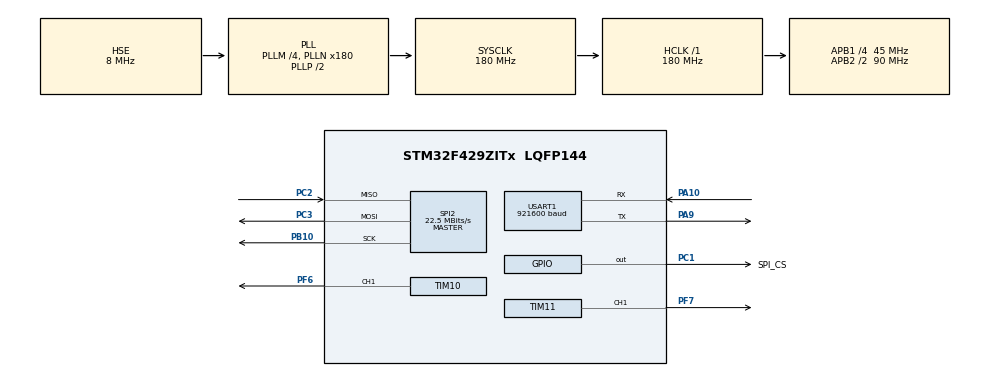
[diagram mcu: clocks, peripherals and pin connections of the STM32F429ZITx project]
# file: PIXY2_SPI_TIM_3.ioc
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Mcu.Family=STM32F4
Mcu.Name=STM32F429ZITx
Mcu.Package=LQFP144
NVIC.PriorityGroup=NVIC_PRIORITYGROUP_4
PA10.Mode=Asynchronous
PA10.Signal=USART1_RX
PA9.Mode=Asynchronous
PA9.Signal=USART1_TX
PB10.Mode=Full_Duplex_Master
PB10.Signal=SPI2_SCK
PC1.GPIO_Label=SPI_CS
PC1.GPIO_PuPd=GPIO_PULLUP
PC1.GPIO_Speed=GPIO_SPEED_FREQ_HIGH
PC1.PinState=GPIO_PIN_SET
PC1.Signal=GPIO_Output
PC2.Mode=Full_Duplex_Master
PC2.Signal=SPI2_MISO
PC3.Mode=Full_Duplex_Master
PC3.Signal=SPI2_MOSI
PF6.Signal=S_TIM10_CH1
PF7.Signal=S_TIM11_CH1
PH0/OSC_IN.Mode=HSE-External-Oscillator
PH0/OSC_IN.Signal=RCC_OSC_IN
PH1/OSC_OUT.Mode=HSE-External-Oscillator
PH1/OSC_OUT.Signal=RCC_OSC_OUT
ProjectManager.HeapSize=0x200
ProjectManager.StackSize=0x400
ProjectManager.TargetToolchain=STM32CubeIDE
RCC.48MHZClocksFreq_Value=90000000
RCC.AHBFreq_Value=180000000
RCC.APB1CLKDivider=RCC_HCLK_DIV4
RCC.APB1Freq_Value=45000000
RCC.APB1TimFreq_Value=90000000
RCC.APB2CLKDivider=RCC_HCLK_DIV2
RCC.APB2Freq_Value=90000000
RCC.APB2TimFreq_Value=180000000
RCC.CortexFreq_Value=180000000
RCC.HCLKFreq_Value=180000000
RCC.HSE_VALUE=8000000
RCC.HSI_VALUE=16000000
RCC.LSE_VALUE=32768
RCC.PLLM=4
RCC.PLLN=180
RCC.PLLSourceVirtual=RCC_PLLSOURCE_HSE
RCC.SYSCLKFreq_VALUE=180000000
RCC.SYSCLKSource=RCC_SYSCLKSOURCE_PLLCLK
RCC.VCOOutputFreq_Value=360000000
SH.S_TIM10_CH1.0=TIM10_CH1,PWM Generation1 CH1
SH.S_TIM11_CH1.0=TIM11_CH1,PWM Generation1 CH1
SPI2.CLKPhase=SPI_PHASE_2EDGE
SPI2.CalculateBaudRate=22.5 MBits/s
SPI2.Direction=SPI_DIRECTION_2LINES
SPI2.Mode=SPI_MODE_MASTER
SPI2.VirtualType=VM_MASTER
TIM10.Channel=TIM_CHANNEL_1
TIM10.Period=19999
TIM10.Prescaler=179
TIM10.Pulse=1500
TIM11.Channel=TIM_CHANNEL_1
TIM11.Period=19999
TIM11.Prescaler=179
TIM11.Pulse=1500
USART1.BaudRate=921600
USART1.VirtualMode=VM_ASYNC
VP_TIM10_VS_ClockSourceINT.Mode=Enable_Timer
VP_TIM11_VS_ClockSourceINT.Mode=Enable_Timer
board=custom

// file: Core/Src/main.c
/* USER CODE BEGIN Header */
/**
 ******************************************************************************
 * @file           : main.c
 * @brief          : Main program body
 ******************************************************************************
 * @attention
 *
 * Copyright (c) 2023 STMicroelectronics.
 * All rights reserved.
 *
 * This software is licensed under terms that can be found in the LICENSE file
 * in the root directory of this software component.
 * If no LICENSE file comes with this software, it is provided AS-IS.
 *
 ******************************************************************************
 */
/* USER CODE END Header */
#include "main.h"

/* USER CODE BEGIN Includes */
#include "Pixy2.h"
#include "rcservo.h"
/* USER CODE END Includes */

/* USER CODE BEGIN PD */
//#define VIDEO
/* USER CODE END PD */

SPI_HandleTypeDef hspi2;

TIM_HandleTypeDef htim10;
TIM_HandleTypeDef htim11;

UART_HandleTypeDef huart1;

void SystemClock_Config(void);
static void MX_GPIO_Init(void);
static void MX_SPI2_Init(void);
static void MX_TIM10_Init(void);
static void MX_TIM11_Init(void);
static void MX_USART1_UART_Init(void);

/* USER CODE BEGIN 0 */
int __io_putchar(int ch) {
	(void) HAL_UART_Transmit(&huart1, (uint8_t*) &ch, 1, 100);
	return ch;
}
/* USER CODE END 0 */

int main(void)
{

  /* MCU Configuration--------------------------------------------------------*/

  /* Reset of all peripherals, Initializes the Flash interface and the Systick. */
  HAL_Init();

  /* Configure the system clock */
  SystemClock_Config();

  /* Initialize all configured peripherals */
  MX_GPIO_Init();
  MX_SPI2_Init();
  MX_TIM10_Init();
  MX_TIM11_Init();
  MX_USART1_UART_Init();
  /* USER CODE BEGIN 2 */
	extern Block *blocks;
	extern uint8_t numBlocks;
	extern Pixy2 pixy;

	int32_t panOffset, tiltOffset;
	PIDLoop pan_pid;
	PIDLoop tilt_pid;
	//Pixel pixel;

#ifndef VIDEO
  	pixy2_init(&hspi2, SPI_CS_GPIO_Port, SPI_CS_Pin);

  	pixy2_printVersion();

  	HAL_TIM_PWM_Start(&htim10, TIM_CHANNEL_1);
  	HAL_TIM_PWM_Start(&htim11, TIM_CHANNEL_1);

  	PIDLoop_init(&tilt_pid, 400, 0, 400, 0);
  	PIDLoop_init(&pan_pid, 500, 0, 500, 1);

  	rcs_init();

#else
	pixy2_changeProg("video");
#endif
  /* USER CODE END 2 */

  /* Infinite loop */
  /* USER CODE BEGIN WHILE */
	while (1) {
#ifndef VIDEO
	  numBlocks = pixy2_getBlocks(true, CCC_SIG_ALL, 0xff);

	  		if (numBlocks) {
	  			for (int i = 0; i < numBlocks; i++) {
	  				pixy2_printBlock(i);
	  			}
	  			printf("\r\n");

	  			panOffset = (int32_t) pixy.frameWidth / 2
	  					- (int32_t) (blocks + 0)->m_x;
	  			tiltOffset = (int32_t) (blocks + 0)->m_y
	  					- (int32_t) pixy.frameHeight / 2;

	  			PIDLoop_update(&pan_pid, panOffset);
	  			PIDLoop_update(&tilt_pid, tiltOffset);

	  			rcs_setPos(pan_pid.m_axis,pan_pid.m_command);
	  			rcs_setPos(tilt_pid.m_axis,tilt_pid.m_command);

//	  			pixy2_setServos((uint16_t) (pan_pid.m_command),(uint16_t) (tilt_pid.m_command));

	  		} else {
	  			reset(&pan_pid);
	  			reset(&tilt_pid);

	  			rcs_setPos(pan_pid.m_axis,pan_pid.m_command);
	  			rcs_setPos(tilt_pid.m_axis,tilt_pid.m_command);

//	  			pixy2_setServos((uint16_t) (pan_pid.m_command),(uint16_t) (tilt_pid.m_command));

	  		}

#else
	  		uint8_t r,g,b;
		for (uint8_t y = 0; y < 207; y++) {
			for (uint8_t x = 0; x < 255; x++) {

				pixy2_getRGB(x, y, (uint8_t*) &r, (uint8_t*) &g,
						(uint8_t*) &b, 0);

				uint8_t pixelPacket[7];
				pixelPacket[0]=0xae;
				pixelPacket[1]=0xc1;
				pixelPacket[2] = x;
				pixelPacket[3] = y;
				pixelPacket[4] = r;
				pixelPacket[5] = g;
				pixelPacket[6] = b;
				for (int i = 0; i < 7; i++)
					HAL_UART_Transmit(&huart1, (uint8_t*) &pixelPacket[i], 1, 100);
			}
		}

#endif
    /* USER CODE END WHILE */

	}
}

void SystemClock_Config(void)
{
  RCC_OscInitTypeDef RCC_OscInitStruct = {0};
  RCC_ClkInitTypeDef RCC_ClkInitStruct = {0};

  /** Configure the main internal regulator output voltage
  */
  __HAL_RCC_PWR_CLK_ENABLE();
  __HAL_PWR_VOLTAGESCALING_CONFIG(PWR_REGULATOR_VOLTAGE_SCALE1);

  /** Initializes the RCC Oscillators according to the specified parameters
  * in the RCC_OscInitTypeDef structure.
  */
  RCC_OscInitStruct.OscillatorType = RCC_OSCILLATORTYPE_HSE;
  RCC_OscInitStruct.HSEState = RCC_HSE_ON;
  RCC_OscInitStruct.PLL.PLLState = RCC_PLL_ON;
  RCC_OscInitStruct.PLL.PLLSource = RCC_PLLSOURCE_HSE;
  RCC_OscInitStruct.PLL.PLLM = 4;
  RCC_OscInitStruct.PLL.PLLN = 180;
  RCC_OscInitStruct.PLL.PLLP = RCC_PLLP_DIV2;
  RCC_OscInitStruct.PLL.PLLQ = 4;
  if (HAL_RCC_OscConfig(&RCC_OscInitStruct) != HAL_OK)
  {
    Error_Handler();
  }

  /** Activate the Over-Drive mode
  */
  if (HAL_PWREx_EnableOverDrive() != HAL_OK)
  {
    Error_Handler();
  }

  /** Initializes the CPU, AHB and APB buses clocks
  */
  RCC_ClkInitStruct.ClockType = RCC_CLOCKTYPE_HCLK|RCC_CLOCKTYPE_SYSCLK
                              |RCC_CLOCKTYPE_PCLK1|RCC_CLOCKTYPE_PCLK2;
  RCC_ClkInitStruct.SYSCLKSource = RCC_SYSCLKSOURCE_PLLCLK;
  RCC_ClkInitStruct.AHBCLKDivider = RCC_SYSCLK_DIV1;
  RCC_ClkInitStruct.APB1CLKDivider = RCC_HCLK_DIV4;
  RCC_ClkInitStruct.APB2CLKDivider = RCC_HCLK_DIV2;

  if (HAL_RCC_ClockConfig(&RCC_ClkInitStruct, FLASH_LATENCY_5) != HAL_OK)
  {
    Error_Handler();
  }
}

static void MX_SPI2_Init(void)
{

  /* SPI2 parameter configuration*/
  hspi2.Instance = SPI2;
  hspi2.Init.Mode = SPI_MODE_MASTER;
  hspi2.Init.Direction = SPI_DIRECTION_2LINES;
  hspi2.Init.DataSize = SPI_DATASIZE_8BIT;
  hspi2.Init.CLKPolarity = SPI_POLARITY_LOW;
  hspi2.Init.CLKPhase = SPI_PHASE_2EDGE;
  hspi2.Init.NSS = SPI_NSS_SOFT;
  hspi2.Init.BaudRatePrescaler = SPI_BAUDRATEPRESCALER_2;
  hspi2.Init.FirstBit = SPI_FIRSTBIT_MSB;
  hspi2.Init.TIMode = SPI_TIMODE_DISABLE;
  hspi2.Init.CRCCalculation = SPI_CRCCALCULATION_DISABLE;
  hspi2.Init.CRCPolynomial = 10;
  if (HAL_SPI_Init(&hspi2) != HAL_OK)
  {
    Error_Handler();
  }

}

static void MX_TIM10_Init(void)
{

  TIM_OC_InitTypeDef sConfigOC = {0};

  htim10.Instance = TIM10;
  htim10.Init.Prescaler = 179;
  htim10.Init.CounterMode = TIM_COUNTERMODE_UP;
  htim10.Init.Period = 19999;
  htim10.Init.ClockDivision = TIM_CLOCKDIVISION_DIV1;
  htim10.Init.AutoReloadPreload = TIM_AUTORELOAD_PRELOAD_DISABLE;
  if (HAL_TIM_Base_Init(&htim10) != HAL_OK)
  {
    Error_Handler();
  }
  if (HAL_TIM_PWM_Init(&htim10) != HAL_OK)
  {
    Error_Handler();
  }
  sConfigOC.OCMode = TIM_OCMODE_PWM1;
  sConfigOC.Pulse = 1500;
  sConfigOC.OCPolarity = TIM_OCPOLARITY_HIGH;
  sConfigOC.OCFastMode = TIM_OCFAST_DISABLE;
  if (HAL_TIM_PWM_ConfigChannel(&htim10, &sConfigOC, TIM_CHANNEL_1) != HAL_OK)
  {
    Error_Handler();
  }
  HAL_TIM_MspPostInit(&htim10);

}

static void MX_TIM11_Init(void)
{

  TIM_OC_InitTypeDef sConfigOC = {0};

  htim11.Instance = TIM11;
  htim11.Init.Prescaler = 179;
  htim11.Init.CounterMode = TIM_COUNTERMODE_UP;
  htim11.Init.Period = 19999;
  htim11.Init.ClockDivision = TIM_CLOCKDIVISION_DIV1;
  htim11.Init.AutoReloadPreload = TIM_AUTORELOAD_PRELOAD_DISABLE;
  if (HAL_TIM_Base_Init(&htim11) != HAL_OK)
  {
    Error_Handler();
  }
  if (HAL_TIM_PWM_Init(&htim11) != HAL_OK)
  {
    Error_Handler();
  }
  sConfigOC.OCMode = TIM_OCMODE_PWM1;
  sConfigOC.Pulse = 1500;
  sConfigOC.OCPolarity = TIM_OCPOLARITY_HIGH;
  sConfigOC.OCFastMode = TIM_OCFAST_DISABLE;
  if (HAL_TIM_PWM_ConfigChannel(&htim11, &sConfigOC, TIM_CHANNEL_1) != HAL_OK)
  {
    Error_Handler();
  }
  HAL_TIM_MspPostInit(&htim11);

}

static void MX_USART1_UART_Init(void)
{

  huart1.Instance = USART1;
  huart1.Init.BaudRate = 921600;
  huart1.Init.WordLength = UART_WORDLENGTH_8B;
  huart1.Init.StopBits = UART_STOPBITS_1;
  huart1.Init.Parity = UART_PARITY_NONE;
  huart1.Init.Mode = UART_MODE_TX_RX;
  huart1.Init.HwFlowCtl = UART_HWCONTROL_NONE;
  huart1.Init.OverSampling = UART_OVERSAMPLING_16;
  if (HAL_UART_Init(&huart1) != HAL_OK)
  {
    Error_Handler();
  }

}

static void MX_GPIO_Init(void)
{
  GPIO_InitTypeDef GPIO_InitStruct = {0};

  /* GPIO Ports Clock Enable */
  __HAL_RCC_GPIOF_CLK_ENABLE();
  __HAL_RCC_GPIOH_CLK_ENABLE();
  __HAL_RCC_GPIOC_CLK_ENABLE();
  __HAL_RCC_GPIOB_CLK_ENABLE();
  __HAL_RCC_GPIOA_CLK_ENABLE();

  /*Configure GPIO pin Output Level */
  HAL_GPIO_WritePin(SPI_CS_GPIO_Port, SPI_CS_Pin, GPIO_PIN_SET);

  /*Configure GPIO pin : SPI_CS_Pin */
  GPIO_InitStruct.Pin = SPI_CS_Pin;
  GPIO_InitStruct.Mode = GPIO_MODE_OUTPUT_PP;
  GPIO_InitStruct.Pull = GPIO_PULLUP;
  GPIO_InitStruct.Speed = GPIO_SPEED_FREQ_HIGH;
  HAL_GPIO_Init(SPI_CS_GPIO_Port, &GPIO_InitStruct);

}

void Error_Handler(void)
{
	__disable_irq();
	while (1) {
	}
}
